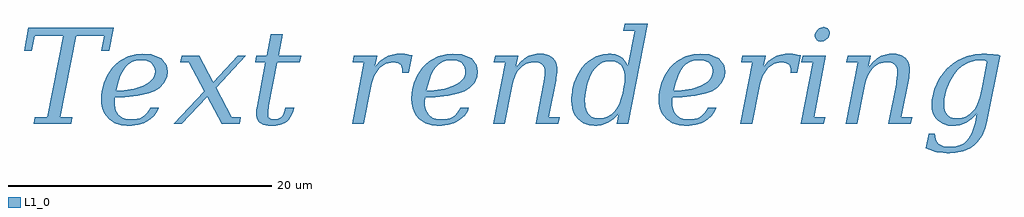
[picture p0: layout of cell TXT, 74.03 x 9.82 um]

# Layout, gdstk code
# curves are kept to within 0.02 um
import gdstk
lib = gdstk.Library(unit=1e-6, precision=1e-09)
def P(c, l, *ps):  # polygons
    for p in ps: c.add(gdstk.Polygon(p, *l))
L1_0 = (1, 0)

txt = lib.new_cell('TXT')
P(txt, L1_0, [(1.202,0),(1.298,0.517),(2.231,0.517),(3.437,6.709),(1.294,6.709),(1.075,5.572),(0.473,5.572),(0.806,7.291),(7.28,7.291),(6.948,5.572),(6.348,5.572),(6.567,6.709),(4.423,6.709),(3.217,0.517),(4.15,0.517),(4.053,0)],
  [(8.63,-0.13),(9.13,-0.07),(9.54,0.05),(9.76,0.16),(10.03,0.34),(10.36,0.64),(10.59,0.97),(10.69,1.22),(10.03,1.22),(9.81,0.84),(9.59,0.64),(9.29,0.45),(9.06,0.38),(8.78,0.35),(8.28,0.36),(7.92,0.48),(7.64,0.69),(7.51,0.88),(7.38,1.22),(7.34,1.64),(7.36,1.99),(8.11,2.02),(9.1,2.13),(9.92,2.33),(10.36,2.5),(10.72,2.72),(11.11,3.12),(11.32,3.6),(11.36,3.98),(11.29,4.47),(10.89,4.99),(10.14,5.28),(9.45,5.33),(9,5.3),(8.37,5.14),(7.8,4.85),(7.46,4.58),(7.15,4.26),(6.78,3.71),(6.51,3.07),(6.37,2.51),(7.46,2.51),(7.58,3.01),(7.78,3.64),(8.02,4.12),(8.19,4.35),(8.38,4.53),(8.7,4.72),(9.05,4.83),(9.3,4.85),(9.7,4.82),(10.13,4.64),(10.37,4.31),(10.41,4.01),(10.39,3.78),(10.28,3.48),(10.06,3.23),(9.87,3.09),(9.5,2.9),(8.85,2.69),(8.06,2.56),(7.46,2.51),(6.37,2.51),(6.32,2.02),(6.34,1.59),(6.42,1.19),(6.56,0.82),(6.7,0.61),(6.94,0.34),(7.36,0.04),(7.86,-0.11)],
  [(12.452,0),(11.843,0),(14.132,2.491),(12.98,4.669),(12.341,4.669),(12.438,5.191),(13.757,5.191),(14.835,3.169),(16.696,5.191),(17.307,5.191),(15.06,2.748),(16.247,0.517),(16.925,0.517),(16.827,0),(15.466,0),(14.361,2.07)],
  [(18.79,4.669),(17.999,4.669),(18.103,5.191),(18.893,5.191),(19.206,6.802),(20.109,6.802),(19.796,5.191),(21.485,5.191),(21.384,4.669),(19.693,4.669),(19.028,1.224),(18.981,0.762),(19.015,0.528),(19.17,0.389),(19.323,0.35),(19.584,0.35),(19.764,0.394),(19.917,0.474),(20.081,0.642),(20.181,0.82),(20.304,1.22),(20.982,1.22),(20.903,0.952),(20.748,0.607),(20.551,0.331),(20.221,0.067),(19.912,-0.061),(19.55,-0.129),(19.279,-0.142),(18.989,-0.128),(18.632,-0.055),(18.368,0.08),(18.243,0.205),(18.126,0.461),(18.087,0.806),(18.128,1.248)],
  [(29.923,5.2),(29.67,3.902),(29.151,3.902),(29.162,4.18),(29.092,4.417),(28.981,4.547),(28.844,4.621),(28.669,4.661),(28.274,4.65),(27.922,4.554),(27.61,4.375),(27.423,4.209),(27.257,4.01),(27.049,3.65),(26.89,3.218),(26.251,0),(25.353,0),(26.261,4.678),(25.401,4.678),(25.5,5.191),(27.258,5.191),(27.081,4.267),(27.473,4.739),(27.732,4.955),(28.106,5.165),(28.413,5.267),(28.743,5.322),(29.064,5.331),(29.524,5.284)],
  [(32.17,-0.13),(32.66,-0.07),(33.07,0.05),(33.3,0.16),(33.57,0.34),(33.89,0.64),(34.12,0.97),(34.22,1.22),(33.56,1.22),(33.5,1.06),(33.35,0.84),(33.13,0.64),(32.82,0.45),(32.6,0.38),(32.32,0.35),(31.81,0.36),(31.45,0.48),(31.18,0.69),(31.04,0.88),(30.92,1.22),(30.88,1.46),(30.9,1.99),(31.65,2.02),(32.64,2.13),(33.45,2.33),(33.9,2.5),(34.26,2.72),(34.65,3.12),(34.86,3.6),(34.9,3.98),(34.82,4.47),(34.42,4.99),(33.68,5.28),(32.99,5.33),(32.53,5.3),(31.9,5.14),(31.34,4.85),(30.99,4.58),(30.69,4.26),(30.31,3.71),(30.05,3.07),(29.91,2.51),(31,2.51),(31.12,3.01),(31.32,3.64),(31.56,4.12),(31.73,4.35),(31.92,4.53),(32.23,4.72),(32.58,4.83),(32.84,4.85),(33.24,4.82),(33.67,4.64),(33.9,4.31),(33.95,4.01),(33.93,3.78),(33.81,3.48),(33.6,3.23),(33.04,2.9),(32.38,2.69),(31.59,2.56),(31,2.51),(29.91,2.51),(29.86,1.88),(29.87,1.59),(29.95,1.19),(30.1,0.82),(30.47,0.34),(30.89,0.04),(31.4,-0.11),(31.78,-0.14)],
  [(36.051,0),(36.959,4.669),(36.1,4.669),(36.198,5.191),(37.956,5.191),(37.779,4.267),(38.155,4.73),(38.404,4.946),(38.762,5.161),(39.049,5.266),(39.349,5.322),(39.879,5.313),(40.28,5.209),(40.582,5.017),(40.729,4.839),(40.869,4.491),(40.908,4.235),(40.912,3.909),(40.861,3.464),(40.29,0.517),(41.09,0.517),(40.993,0),(39.289,0),(39.909,3.212),(39.968,3.972),(39.921,4.253),(39.81,4.453),(39.621,4.59),(39.356,4.664),(39.137,4.678),(38.895,4.66),(38.564,4.564),(38.271,4.385),(37.941,4.021),(37.743,3.66),(37.589,3.223),(37.511,2.891),(36.95,0)],
  [(43.94,-0.13),(44.27,-0.08),(44.57,0.01),(44.94,0.19),(45.19,0.39),(45.57,0.81),(45.42,0),(46.32,0),(47.79,7.6),(46.04,7.6),(45.94,7.08),(46.79,7.08),(46.27,4.38),(46.05,4.8),(45.87,5),(45.58,5.18),(45.31,5.27),(45,5.32),(44.4,5.3),(43.86,5.14),(43.37,4.85),(43.06,4.57),(42.78,4.25),(42.43,3.7),(42.18,3.07),(42.07,2.6),(42,2.2),(41.99,1.72),(43.02,1.72),(43.08,2.41),(43.21,3.01),(43.39,3.54),(43.61,3.98),(43.98,4.42),(44.31,4.63),(44.67,4.75),(44.94,4.77),(45.2,4.75),(45.52,4.65),(45.76,4.46),(45.89,4.28),(46,3.95),(46.04,3.71),(46.04,3.41),(45.97,2.85),(45.79,1.98),(45.62,1.51),(45.4,1.13),(45.23,0.91),(45.04,0.73),(44.72,0.54),(44.36,0.44),(43.83,0.44),(43.51,0.56),(43.27,0.77),(43.16,0.97),(43.05,1.31),(43.02,1.72),(41.99,1.72),(42.06,1.17),(42.18,0.82),(42.5,0.34),(42.88,0.05),(43.34,-0.11)],
  [(50.93,-0.13),(51.42,-0.07),(51.83,0.05),(52.06,0.16),(52.33,0.34),(52.65,0.64),(52.88,0.97),(52.98,1.22),(52.32,1.22),(52.26,1.06),(52.11,0.84),(51.89,0.64),(51.58,0.45),(51.36,0.38),(51.08,0.35),(50.57,0.36),(50.21,0.48),(49.94,0.69),(49.8,0.88),(49.68,1.22),(49.64,1.46),(49.66,1.99),(50.41,2.02),(51.4,2.13),(52.21,2.33),(52.66,2.5),(53.02,2.72),(53.41,3.12),(53.62,3.6),(53.66,3.98),(53.58,4.47),(53.18,4.99),(52.44,5.28),(51.75,5.33),(51.29,5.3),(50.66,5.14),(50.1,4.85),(49.75,4.58),(49.45,4.26),(49.07,3.71),(48.81,3.07),(48.67,2.51),(49.76,2.51),(49.88,3.01),(50.08,3.64),(50.32,4.12),(50.49,4.35),(50.68,4.53),(50.99,4.72),(51.34,4.83),(51.6,4.85),(52,4.82),(52.43,4.64),(52.66,4.31),(52.71,4.01),(52.69,3.78),(52.57,3.48),(52.36,3.23),(51.8,2.9),(51.14,2.69),(50.35,2.56),(49.76,2.51),(48.67,2.51),(48.61,1.88),(48.63,1.59),(48.71,1.19),(48.86,0.82),(49.23,0.34),(49.65,0.04),(50.16,-0.11),(50.54,-0.14)],
  [(59.381,5.2),(59.128,3.902),(58.609,3.902),(58.62,4.18),(58.55,4.417),(58.439,4.547),(58.302,4.621),(58.127,4.661),(57.732,4.65),(57.38,4.554),(57.068,4.375),(56.881,4.209),(56.715,4.01),(56.507,3.65),(56.348,3.218),(55.709,0),(54.811,0),(55.719,4.678),(54.859,4.678),(54.958,5.191),(56.716,5.191),(56.539,4.267),(56.931,4.739),(57.19,4.955),(57.564,5.165),(57.871,5.267),(58.201,5.322),(58.522,5.331),(58.982,5.284)],
  [(60.465,6.802),(60.547,7.012),(60.633,7.124),(60.785,7.252),(61.039,7.351),(61.215,7.351),(61.43,7.252),(61.523,7.14),(61.584,6.971),(61.551,6.712),(61.408,6.478),(61.258,6.353),(61.005,6.256),(60.827,6.256),(60.61,6.353),(60.48,6.541)],
  [(60.393,0.517),(61.241,0.517),(61.144,0),(59.396,0),(60.299,4.669),(59.44,4.669),(59.543,5.191),(61.301,5.191)],
  [(62.789,0),(63.697,4.669),(62.838,4.669),(62.936,5.191),(64.694,5.191),(64.518,4.267),(64.893,4.73),(65.142,4.946),(65.501,5.161),(65.787,5.266),(66.088,5.322),(66.618,5.313),(67.018,5.209),(67.321,5.017),(67.468,4.839),(67.607,4.491),(67.646,4.235),(67.65,3.909),(67.6,3.464),(67.029,0.517),(67.829,0.517),(67.732,0),(66.027,0),(66.648,3.212),(66.707,3.972),(66.66,4.253),(66.548,4.453),(66.36,4.59),(66.095,4.664),(65.875,4.678),(65.634,4.66),(65.303,4.564),(65.009,4.385),(64.679,4.021),(64.481,3.66),(64.327,3.223),(64.249,2.891),(63.688,0)],
  [(71.11,-2.2),(71.7,-2.07),(72.23,-1.83),(72.56,-1.61),(72.83,-1.36),(73.16,-0.9),(73.4,-0.33),(73.51,0.11),(74.5,5.19),(74,5.3),(73.11,5.33),(72.64,5.3),(71.96,5.14),(71.31,4.85),(70.9,4.57),(70.45,4.19),(69.91,3.48),(69.53,2.62),(69.36,1.96),(69.31,1.46),(70.26,1.46),(70.29,1.87),(70.44,2.54),(70.7,3.21),(71.03,3.78),(71.3,4.1),(71.6,4.37),(72.08,4.65),(72.6,4.81),(73.16,4.83),(73.37,4.79),(73.48,4.73),(73.5,4.67),(72.96,1.98),(72.79,1.51),(72.58,1.13),(72.41,0.91),(72.22,0.73),(71.9,0.54),(71.54,0.44),(71.04,0.44),(70.74,0.52),(70.52,0.68),(70.36,0.91),(70.31,1.05),(70.26,1.46),(69.31,1.46),(69.33,1.12),(69.4,0.84),(69.62,0.44),(69.81,0.23),(70.16,0),(70.58,-0.12),(71.13,-0.13),(71.45,-0.08),(71.75,0.01),(72.11,0.19),(72.36,0.39),(72.75,0.81),(72.52,-0.25),(72.36,-0.72),(72.14,-1.09),(71.97,-1.29),(71.77,-1.45),(71.43,-1.63),(71.03,-1.72),(70.72,-1.74),(70.2,-1.68),(69.96,-1.59),(69.73,-1.4),(69.62,-1.2),(69.56,-0.76),(69.09,-0.76),(68.88,-1.85),(69.54,-2.09),(69.9,-2.16),(70.48,-2.22)])

lib.write_gds('TXT.gds')
